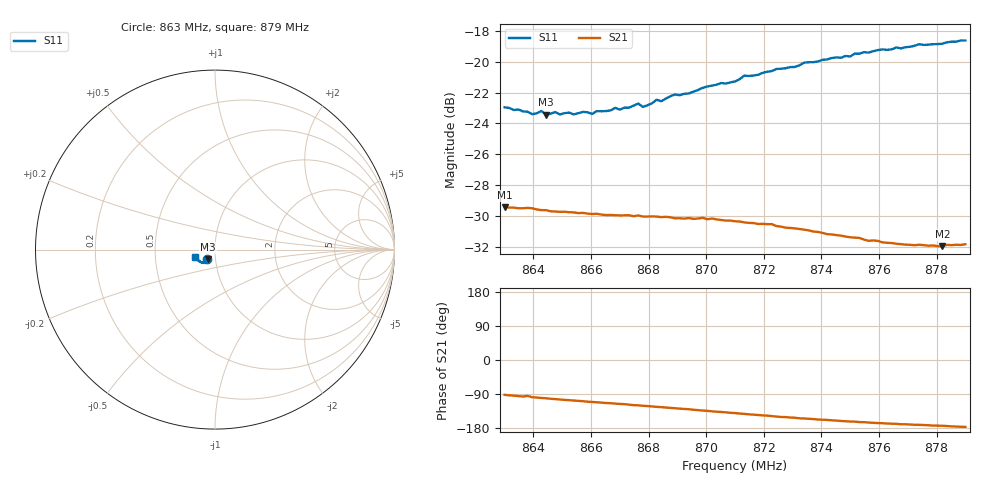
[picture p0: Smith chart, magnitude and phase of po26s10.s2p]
# HZ S RI R 50
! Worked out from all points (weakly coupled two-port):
!   101 points, 863 MHz to 879 MHz, reference 50 ohm
!   highest |S21| = -29.44 dB at 863 MHz (marker M1); lowest = -32.0 dB at 878.2 MHz (marker M2)
!   lowest |S11| = -23.4 dB at 864.44 MHz (marker M3), VSWR 1.14, Z = 46 - j5.08 ohm
!   |S11| at or under -10 dB: start of sweep to end of sweep
!   S12 and S22 are empty: the file has one direction only
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8.63e8  -0.0453 -0.0549  -0.00114 -0.0337  0 0  0 0
8.6396e8  -0.0396 -0.0547  -0.00481 -0.0331  0 0  0 0
8.6428e8  -0.0397 -0.0567  -0.00584 -0.0325  0 0  0 0
8.6444e8  -0.0389 -0.0549  -0.00634 -0.0324  0 0  0 0
8.6476e8  -0.0384 -0.057  -0.00746 -0.0318  0 0  0 0
8.654e8  -0.0357 -0.0573  -0.00945 -0.0311  0 0  0 0
8.6572e8  -0.0369 -0.0581  -0.0104 -0.0307  0 0  0 0
8.6604e8  -0.0359 -0.0575  -0.0114 -0.03  0 0  0 0
8.6684e8  -0.0367 -0.0606  -0.0135 -0.0288  0 0  0 0
8.6732e8  -0.0353 -0.0616  -0.0149 -0.0281  0 0  0 0
8.6764e8  -0.0368 -0.0633  -0.0157 -0.0276  0 0  0 0
8.678e8  -0.0355 -0.062  -0.0161 -0.0271  0 0  0 0
8.6828e8  -0.037 -0.0656  -0.0174 -0.0262  0 0  0 0
8.6844e8  -0.0365 -0.0649  -0.0177 -0.0259  0 0  0 0
8.6892e8  -0.0397 -0.0675  -0.0188 -0.0247  0 0  0 0
8.71e8  -0.0476 -0.0721  -0.0233 -0.0195  0 0  0 0
8.7132e8  -0.0508 -0.0745  -0.0238 -0.0185  0 0  0 0
8.7372e8  -0.0668 -0.074  -0.0257 -0.0115  0 0  0 0
8.7644e8  -0.0906 -0.0619  -0.0253 -0.00533  0 0  0 0
8.774e8  -0.0997 -0.0555  -0.0252 -0.00397  0 0  0 0
8.782e8  -0.104 -0.0479  -0.0251 -0.00284  0 0  0 0
8.79e8  -0.1101 -0.0403  -0.0256 -0.00152  0 0  0 0
